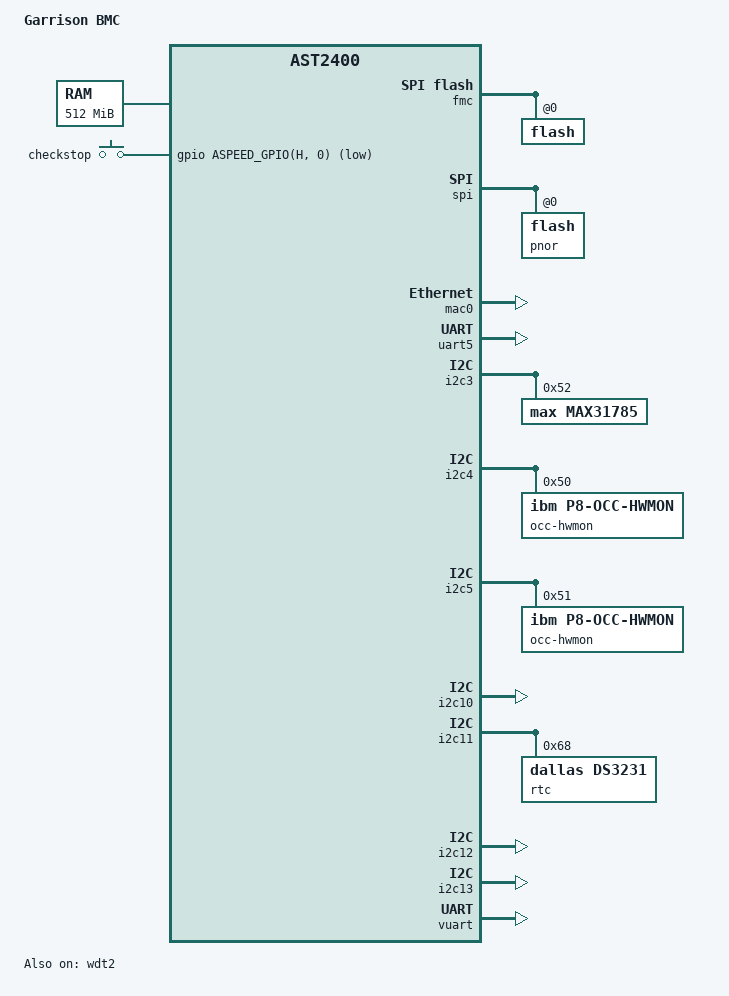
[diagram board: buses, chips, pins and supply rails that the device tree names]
/dts-v1/;

#include "aspeed-g4.dtsi"
#include <dt-bindings/gpio/aspeed-gpio.h>
#include <dt-bindings/gpio/gpio.h>

/ {
	model = "Garrison BMC";
	compatible = "ibm,garrison-bmc", "aspeed,ast2400";

	chosen {
		stdout-path = &uart5;
		bootargs = "console=ttyS4,115200 earlyprintk";
	};

	memory {
		reg = <0x40000000 0x20000000>;
	};

	reserved-memory {
		#address-cells = <1>;
		#size-cells = <1>;
		ranges;

		vga_memory: framebuffer@5f000000 {
			no-map;
			reg = <0x5f000000 0x01000000>; /* 16MB */
		};
	};

	gpio-keys {
		compatible = "gpio-keys";

		checkstop {
			label = "checkstop";
			gpios = <&gpio ASPEED_GPIO(H, 0) GPIO_ACTIVE_LOW>;
			linux,code = <ASPEED_GPIO(H, 0)>;
		};
	};
};

&fmc {
	status = "okay";

	flash@0 {
		status = "okay";
		m25p,fast-read;
#include "openbmc-flash-layout.dtsi"
	};
};

&spi {
	status = "okay";
	pinctrl-names = "default";
	pinctrl-0 = <&pinctrl_spi1_default>;

	flash@0 {
		status = "okay";
		m25p,fast-read;
		label = "pnor";
	};
};

&mac0 {
	status = "okay";

	use-ncsi;

	pinctrl-names = "default";
	pinctrl-0 = <&pinctrl_rmii1_default>;
};

&uart5 {
	status = "okay";
};

&i2c3 {
	status = "okay";

	// FIR (fan / SATA backplane)
	max31785@52 {
		compatible = "max,max31785";
		reg = <0x52>;
		#address-cells = <1>;
		#size-cells = <0>;

		fan@0 {
			compatible = "pmbus-fan";
			reg = <0>;
			tach-pulses = <2>;
			maxim,fan-rotor-input = "tach";
			maxim,fan-pwm-freq = <25000>;
			maxim,fan-dual-tach;
			maxim,fan-no-watchdog;
			maxim,fan-no-fault-ramp;
			maxim,fan-ramp = <2>;
			maxim,fan-fault-pin-mon;
		};

		fan@1 {
			compatible = "pmbus-fan";
			reg = <1>;
			tach-pulses = <2>;
			maxim,fan-rotor-input = "tach";
			maxim,fan-pwm-freq = <25000>;
			maxim,fan-dual-tach;
			maxim,fan-no-watchdog;
			maxim,fan-no-fault-ramp;
			maxim,fan-ramp = <2>;
			maxim,fan-fault-pin-mon;
		};

		fan@2 {
			compatible = "pmbus-fan";
			reg = <2>;
			tach-pulses = <2>;
			maxim,fan-rotor-input = "tach";
			maxim,fan-pwm-freq = <25000>;
			maxim,fan-dual-tach;
			maxim,fan-no-watchdog;
			maxim,fan-no-fault-ramp;
			maxim,fan-ramp = <2>;
			maxim,fan-fault-pin-mon;
		};

		fan@3 {
			compatible = "pmbus-fan";
			reg = <3>;
			tach-pulses = <2>;
			maxim,fan-rotor-input = "tach";
			maxim,fan-pwm-freq = <25000>;
			maxim,fan-dual-tach;
			maxim,fan-no-watchdog;
			maxim,fan-no-fault-ramp;
			maxim,fan-ramp = <2>;
			maxim,fan-fault-pin-mon;
		};

		fan@4 {
			compatible = "pmbus-fan";
			reg = <4>;
			tach-pulses = <2>;
			maxim,fan-rotor-input = "tach";
			maxim,fan-pwm-freq = <25000>;
			maxim,fan-dual-tach;
			maxim,fan-no-watchdog;
			maxim,fan-no-fault-ramp;
			maxim,fan-ramp = <2>;
			maxim,fan-fault-pin-mon;
		};

		fan@5 {
			compatible = "pmbus-fan";
			reg = <5>;
			tach-pulses = <2>;
			maxim,fan-rotor-input = "tach";
			maxim,fan-pwm-freq = <25000>;
			maxim,fan-dual-tach;
			maxim,fan-no-watchdog;
			maxim,fan-no-fault-ramp;
			maxim,fan-ramp = <2>;
			maxim,fan-fault-pin-mon;
		};
	};
};

&i2c4 {
	status = "okay";

	occ-hwmon@50 {
		compatible = "ibm,p8-occ-hwmon";
		reg = <0x50>;
	};
};

&i2c5 {
	status = "okay";

	occ-hwmon@51 {
		compatible = "ibm,p8-occ-hwmon";
		reg = <0x51>;
	};
};

&i2c10 {
	status = "okay";
};

&i2c11 {
	status = "okay";

	rtc@68 {
		compatible = "dallas,ds3231";
		       reg = <0x68>;
	};
};

&i2c12 {
	status = "okay";
};

&i2c13 {
	status = "okay";
};

&vuart {
	status = "okay";
};

&wdt2 {
	status = "okay";
};
